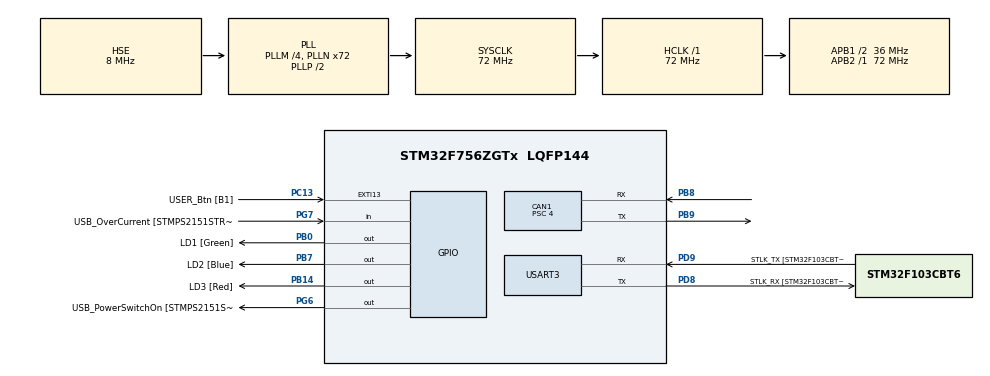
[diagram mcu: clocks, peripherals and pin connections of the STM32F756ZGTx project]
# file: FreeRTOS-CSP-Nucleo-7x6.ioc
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CAN1.BS1=CAN_BS1_4TQ
CAN1.BS2=CAN_BS2_4TQ
CAN1.CalculateBaudRate=1000000
CAN1.CalculateTimeBit=1000
CAN1.CalculateTimeQuantum=111.11111111111111
CAN1.Prescaler=4
CAN1.TXFP=ENABLE
FREERTOS.Tasks01=Default_Task,16,128,Start_Default_Task,Default,NULL,Dynamic,NULL,NULL;CAN_Send_Ping,8,128,Start_CAN_Send_Ping,Default,NULL,Dynamic,NULL,NULL;Blink,24,256,Start_Blink,Default,NULL,Dynamic,NULL,NULL
FREERTOS.configENABLE_FPU=0
FREERTOS.configTOTAL_HEAP_SIZE=32000
FREERTOS.configUSE_NEWLIB_REENTRANT=1
Mcu.Family=STM32F7
Mcu.Name=STM32F756ZGTx
Mcu.Package=LQFP144
NVIC.PriorityGroup=NVIC_PRIORITYGROUP_4
NVIC.TIM6_DAC_IRQn=true\:15\:0\:false\:false\:true\:false\:false\:true\:true
NVIC.TimeBase=TIM6_DAC_IRQn
NVIC.TimeBaseIP=TIM6
PA1.GPIO_Label=RMII_REF_CLK [LAN8742A-CZ-TR_REFCLK0]
PA1.Signal=ETH_REF_CLK
PA10.GPIO_Label=USB_ID
PA10.Signal=USB_OTG_FS_ID
PA11.GPIO_Label=USB_DM
PA11.Signal=USB_OTG_FS_DM
PA12.GPIO_Label=USB_DP
PA12.Signal=USB_OTG_FS_DP
PA13.GPIO_Label=TMS
PA13.Mode=Serial_Wire
PA13.Signal=SYS_JTMS-SWDIO
PA14.GPIO_Label=TCK
PA14.Mode=Serial_Wire
PA14.Signal=SYS_JTCK-SWCLK
PA2.GPIO_Label=RMII_MDIO [LAN8742A-CZ-TR_MDIO]
PA2.Signal=ETH_MDIO
PA7.GPIO_Label=RMII_CRS_DV [LAN8742A-CZ-TR_CRS_DV]
PA7.Signal=ETH_CRS_DV
PA8.GPIO_Label=USB_SOF [TP1]
PA8.Signal=USB_OTG_FS_SOF
PA9.GPIO_Label=USB_VBUS
PA9.Signal=USB_OTG_FS_VBUS
PB0.GPIO_Label=LD1 [Green]
PB0.Signal=GPIO_Output
PB13.GPIO_Label=RMII_TXD1 [LAN8742A-CZ-TR_TXD1]
PB13.Signal=ETH_TXD1
PB14.GPIO_Label=LD3 [Red]
PB14.Signal=GPIO_Output
PB3.GPIO_Label=SW0
PB3.Signal=SYS_JTDO-SWO
PB7.GPIO_Label=LD2 [Blue]
PB7.Signal=GPIO_Output
PB8.GPIO_PuPd=GPIO_PULLUP
PB8.Mode=CAN_Activate
PB8.Signal=CAN1_RX
PB9.Mode=CAN_Activate
PB9.Signal=CAN1_TX
PC1.GPIO_Label=RMII_MDC [LAN8742A-CZ-TR_MDC]
PC1.Signal=ETH_MDC
PC13.GPIO_Label=USER_Btn [B1]
PC13.Signal=GPXTI13
PC14/OSC32_IN.Mode=LSE-External-Oscillator
PC14/OSC32_IN.Signal=RCC_OSC32_IN
PC15/OSC32_OUT.Mode=LSE-External-Oscillator
PC15/OSC32_OUT.Signal=RCC_OSC32_OUT
PC4.GPIO_Label=RMII_RXD0 [LAN8742A-CZ-TR_RXD0]
PC4.Signal=ETH_RXD0
PC5.GPIO_Label=RMII_RXD1 [LAN8742A-CZ-TR_RXD1]
PC5.Signal=ETH_RXD1
PD8.GPIO_Label=STLK_RX [STM32F103CBT6_PA3]
PD8.Mode=Asynchronous
PD8.Signal=USART3_TX
PD9.GPIO_Label=STLK_TX [STM32F103CBT6_PA2]
PD9.Mode=Asynchronous
PD9.Signal=USART3_RX
PG11.GPIO_Label=RMII_TX_EN [LAN8742A-CZ-TR_TXEN]
PG11.Signal=ETH_TX_EN
PG13.GPIO_Label=RMII_TXD0 [LAN8742A-CZ-TR_TXD0]
PG13.Signal=ETH_TXD0
PG6.GPIO_Label=USB_PowerSwitchOn [STMPS2151STR_EN]
PG6.Signal=GPIO_Output
PG7.GPIO_Label=USB_OverCurrent [STMPS2151STR_FAULT]
PG7.Signal=GPIO_Input
PH0/OSC_IN.GPIO_Label=MCO [STM32F103CBT6_PA8]
PH0/OSC_IN.Mode=HSE-External-Clock-Source
PH0/OSC_IN.Signal=RCC_OSC_IN
PH1/OSC_OUT.Mode=HSE-External-Clock-Source
PH1/OSC_OUT.Signal=RCC_OSC_OUT
ProjectManager.HeapSize=0x200
ProjectManager.StackSize=0x400
ProjectManager.TargetToolchain=STM32CubeIDE
RCC.48MHZClocksFreq_Value=24000000
RCC.AHBFreq_Value=72000000
RCC.APB1CLKDivider=RCC_HCLK_DIV2
RCC.APB1Freq_Value=36000000
RCC.APB1TimFreq_Value=72000000
RCC.APB2Freq_Value=72000000
RCC.APB2TimFreq_Value=72000000
RCC.CortexFreq_Value=72000000
RCC.HCLKFreq_Value=72000000
RCC.HSE_VALUE=8000000
RCC.HSI_VALUE=16000000
RCC.PLLM=4
RCC.PLLMUL=RCC_PLL_MUL9
RCC.PLLN=72
RCC.PLLQ=3
RCC.PLLSourceVirtual=RCC_PLLSOURCE_HSE
RCC.PRESCALERUSB=RCC_USBCLKSOURCE_PLL_DIV1_5
RCC.SYSCLKFreq_VALUE=72000000
RCC.SYSCLKSource=RCC_SYSCLKSOURCE_PLLCLK
RCC.SYSCLKSourceVirtual=RCC_SYSCLKSOURCE_PLLCLK
RCC.USBFreq_Value=48000000
RCC.VCOOutputFreq_Value=144000000
USART3.VirtualMode-Asynchronous=VM_ASYNC
VP_FREERTOS_VS_CMSIS_V2.Mode=CMSIS_V2
VP_SYS_VS_tim6.Mode=TIM6
board=NUCLEO-F756ZG

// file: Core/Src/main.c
/* USER CODE BEGIN Header */
/**
 ******************************************************************************
 * @file           : main.c
 * @brief          : Main program body
 ******************************************************************************
 * @attention
 *
 * Copyright (c) 2022 STMicroelectronics.
 * All rights reserved.
 *
 * This software is licensed under terms that can be found in the LICENSE file
 * in the root directory of this software component.
 * If no LICENSE file comes with this software, it is provided AS-IS.
 *
 ******************************************************************************
 */
/* USER CODE END Header */
#include "main.h"
#include "cmsis_os.h"

/* USER CODE BEGIN Includes */
#include <csp/csp.h>
#include <csp/drivers/can_stm32.h>
/* USER CODE END Includes */

CAN_HandleTypeDef hcan1;

UART_HandleTypeDef huart3;

/* Definitions for Default_Task */
osThreadId_t Default_TaskHandle;
const osThreadAttr_t Default_Task_attributes = {
  .name = "Default_Task",
  .stack_size = 128 * 4,
  .priority = (osPriority_t) osPriorityBelowNormal,
};
/* Definitions for CAN_Send_Ping */
osThreadId_t CAN_Send_PingHandle;
const osThreadAttr_t CAN_Send_Ping_attributes = {
  .name = "CAN_Send_Ping",
  .stack_size = 128 * 4,
  .priority = (osPriority_t) osPriorityLow,
};
/* Definitions for Blink */
osThreadId_t BlinkHandle;
const osThreadAttr_t Blink_attributes = {
  .name = "Blink",
  .stack_size = 256 * 4,
  .priority = (osPriority_t) osPriorityNormal,
};
/* USER CODE BEGIN PV */
uint8_t USB_InputBuffer[100];
uint8_t USB_OutputBuffer[127];
int USB_OutBufLen;

static uint8_t server_port = 10;
static uint8_t server_address = 27;

CAN_RxHeaderTypeDef rxHeader;
uint8_t canRX[8] = {0,0,0,0,0,0,0,0};
CAN_FilterTypeDef canfil;
uint8_t canSend = 0;
/* USER CODE END PV */

void SystemClock_Config(void);
static void MX_GPIO_Init(void);
static void MX_USART3_UART_Init(void);
static void MX_CAN1_Init(void);
void Start_Default_Task(void *argument);
void Start_CAN_Send_Ping(void *argument);
void Start_Blink(void *argument);

int main(void)
{

  /* MCU Configuration--------------------------------------------------------*/

  /* Reset of all peripherals, Initializes the Flash interface and the Systick. */
  HAL_Init();

  /* Configure the system clock */
  SystemClock_Config();

  /* Initialize all configured peripherals */
  MX_GPIO_Init();
  MX_USART3_UART_Init();
  MX_CAN1_Init();
  /* USER CODE BEGIN 2 */

	uint8_t address = 1;
	csp_debug_level_t debug_level = CSP_INFO;
	for (csp_debug_level_t i = 0; i <= CSP_LOCK; ++i) {
		csp_debug_set_level(i, (i <= debug_level) ? true : false);
	}
	csp_log_info("Initialising CSP");
	csp_conf_t csp_conf;
	csp_conf_get_defaults(&csp_conf);
	csp_conf.address = address;
	int error = csp_init(&csp_conf);
	if (error != CSP_ERR_NONE) {
		csp_log_error("csp_init() failed, error: %d", error);
	}
	/* Start router task with 1000 bytes of stack (priority is only supported on FreeRTOS) */
	csp_route_start_task(1000, 0);

	/* Add interface(s) */
	csp_iface_t CSP_IF_CAN = {
			.name = "CSP IF CAN",
			.driver_data = &hcan1,
			.nexthop = csp_can_tx,
			.mtu = 64,
	};

	csp_iface_t *can_iface = &CSP_IF_CAN;

	error = csp_can_stm32_open_and_add_interface(CSP_IF_CAN.name, &can_iface);

	if (can_iface) {
		csp_rtable_set(CSP_DEFAULT_ROUTE, 0, can_iface, CSP_NO_VIA_ADDRESS);
	} else {
		server_address = address;
	}

  /* USER CODE END 2 */

  /* Init scheduler */
  osKernelInitialize();

  /* Create the thread(s) */
  /* creation of Default_Task */
  Default_TaskHandle = osThreadNew(Start_Default_Task, NULL, &Default_Task_attributes);

  /* creation of CAN_Send_Ping */
  CAN_Send_PingHandle = osThreadNew(Start_CAN_Send_Ping, NULL, &CAN_Send_Ping_attributes);

  /* creation of Blink */
  BlinkHandle = osThreadNew(Start_Blink, NULL, &Blink_attributes);

  /* Start scheduler */
  osKernelStart();
  /* We should never get here as control is now taken by the scheduler */
  /* Infinite loop */
	while (1) {

	}
}

void SystemClock_Config(void)
{
  RCC_OscInitTypeDef RCC_OscInitStruct = {0};
  RCC_ClkInitTypeDef RCC_ClkInitStruct = {0};

  /** Configure LSE Drive Capability
  */
  HAL_PWR_EnableBkUpAccess();

  /** Configure the main internal regulator output voltage
  */
  __HAL_RCC_PWR_CLK_ENABLE();
  __HAL_PWR_VOLTAGESCALING_CONFIG(PWR_REGULATOR_VOLTAGE_SCALE3);

  /** Initializes the RCC Oscillators according to the specified parameters
  * in the RCC_OscInitTypeDef structure.
  */
  RCC_OscInitStruct.OscillatorType = RCC_OSCILLATORTYPE_HSE;
  RCC_OscInitStruct.HSEState = RCC_HSE_BYPASS;
  RCC_OscInitStruct.PLL.PLLState = RCC_PLL_ON;
  RCC_OscInitStruct.PLL.PLLSource = RCC_PLLSOURCE_HSE;
  RCC_OscInitStruct.PLL.PLLM = 4;
  RCC_OscInitStruct.PLL.PLLN = 72;
  RCC_OscInitStruct.PLL.PLLP = RCC_PLLP_DIV2;
  RCC_OscInitStruct.PLL.PLLQ = 3;
  if (HAL_RCC_OscConfig(&RCC_OscInitStruct) != HAL_OK)
  {
    Error_Handler();
  }

  /** Initializes the CPU, AHB and APB buses clocks
  */
  RCC_ClkInitStruct.ClockType = RCC_CLOCKTYPE_HCLK|RCC_CLOCKTYPE_SYSCLK
                              |RCC_CLOCKTYPE_PCLK1|RCC_CLOCKTYPE_PCLK2;
  RCC_ClkInitStruct.SYSCLKSource = RCC_SYSCLKSOURCE_PLLCLK;
  RCC_ClkInitStruct.AHBCLKDivider = RCC_SYSCLK_DIV1;
  RCC_ClkInitStruct.APB1CLKDivider = RCC_HCLK_DIV2;
  RCC_ClkInitStruct.APB2CLKDivider = RCC_HCLK_DIV1;

  if (HAL_RCC_ClockConfig(&RCC_ClkInitStruct, FLASH_LATENCY_2) != HAL_OK)
  {
    Error_Handler();
  }
}

static void MX_CAN1_Init(void)
{

  hcan1.Instance = CAN1;
  hcan1.Init.Prescaler = 4;
  hcan1.Init.Mode = CAN_MODE_NORMAL;
  hcan1.Init.SyncJumpWidth = CAN_SJW_1TQ;
  hcan1.Init.TimeSeg1 = CAN_BS1_4TQ;
  hcan1.Init.TimeSeg2 = CAN_BS2_4TQ;
  hcan1.Init.TimeTriggeredMode = DISABLE;
  hcan1.Init.AutoBusOff = DISABLE;
  hcan1.Init.AutoWakeUp = DISABLE;
  hcan1.Init.AutoRetransmission = DISABLE;
  hcan1.Init.ReceiveFifoLocked = DISABLE;
  hcan1.Init.TransmitFifoPriority = ENABLE;
  if (HAL_CAN_Init(&hcan1) != HAL_OK)
  {
    Error_Handler();
  }
  /* USER CODE BEGIN CAN1_Init 2 */

	canfil.FilterBank = 0;
	canfil.FilterMode = CAN_FILTERMODE_IDMASK;
	canfil.FilterFIFOAssignment = CAN_RX_FIFO0;
	canfil.FilterIdHigh = 0;
	canfil.FilterIdLow = 0;
	canfil.FilterMaskIdHigh = 0;
	canfil.FilterMaskIdLow = 0;
	canfil.FilterScale = CAN_FILTERSCALE_32BIT;
	canfil.FilterActivation = ENABLE;
	canfil.SlaveStartFilterBank = 14;

	if (HAL_CAN_ConfigFilter(&hcan1,&canfil) != HAL_OK) //Initialize CAN Filter
		Error_Handler();

  /* USER CODE END CAN1_Init 2 */

}

static void MX_USART3_UART_Init(void)
{

  huart3.Instance = USART3;
  huart3.Init.BaudRate = 115200;
  huart3.Init.WordLength = UART_WORDLENGTH_8B;
  huart3.Init.StopBits = UART_STOPBITS_1;
  huart3.Init.Parity = UART_PARITY_NONE;
  huart3.Init.Mode = UART_MODE_TX_RX;
  huart3.Init.HwFlowCtl = UART_HWCONTROL_NONE;
  huart3.Init.OverSampling = UART_OVERSAMPLING_16;
  huart3.Init.OneBitSampling = UART_ONE_BIT_SAMPLE_DISABLE;
  huart3.AdvancedInit.AdvFeatureInit = UART_ADVFEATURE_NO_INIT;
  if (HAL_UART_Init(&huart3) != HAL_OK)
  {
    Error_Handler();
  }

}

static void MX_GPIO_Init(void)
{
  GPIO_InitTypeDef GPIO_InitStruct = {0};

  /* GPIO Ports Clock Enable */
  __HAL_RCC_GPIOC_CLK_ENABLE();
  __HAL_RCC_GPIOH_CLK_ENABLE();
  __HAL_RCC_GPIOA_CLK_ENABLE();
  __HAL_RCC_GPIOB_CLK_ENABLE();
  __HAL_RCC_GPIOD_CLK_ENABLE();
  __HAL_RCC_GPIOG_CLK_ENABLE();

  /*Configure GPIO pin Output Level */
  HAL_GPIO_WritePin(GPIOB, LD1_Pin|LD3_Pin|LD2_Pin, GPIO_PIN_RESET);

  /*Configure GPIO pin Output Level */
  HAL_GPIO_WritePin(USB_PowerSwitchOn_GPIO_Port, USB_PowerSwitchOn_Pin, GPIO_PIN_RESET);

  /*Configure GPIO pin : USER_Btn_Pin */
  GPIO_InitStruct.Pin = USER_Btn_Pin;
  GPIO_InitStruct.Mode = GPIO_MODE_IT_RISING;
  GPIO_InitStruct.Pull = GPIO_NOPULL;
  HAL_GPIO_Init(USER_Btn_GPIO_Port, &GPIO_InitStruct);

  /*Configure GPIO pins : RMII_MDC_Pin RMII_RXD0_Pin RMII_RXD1_Pin */
  GPIO_InitStruct.Pin = RMII_MDC_Pin|RMII_RXD0_Pin|RMII_RXD1_Pin;
  GPIO_InitStruct.Mode = GPIO_MODE_AF_PP;
  GPIO_InitStruct.Pull = GPIO_NOPULL;
  GPIO_InitStruct.Speed = GPIO_SPEED_FREQ_VERY_HIGH;
  GPIO_InitStruct.Alternate = GPIO_AF11_ETH;
  HAL_GPIO_Init(GPIOC, &GPIO_InitStruct);

  /*Configure GPIO pins : RMII_REF_CLK_Pin RMII_MDIO_Pin RMII_CRS_DV_Pin */
  GPIO_InitStruct.Pin = RMII_REF_CLK_Pin|RMII_MDIO_Pin|RMII_CRS_DV_Pin;
  GPIO_InitStruct.Mode = GPIO_MODE_AF_PP;
  GPIO_InitStruct.Pull = GPIO_NOPULL;
  GPIO_InitStruct.Speed = GPIO_SPEED_FREQ_VERY_HIGH;
  GPIO_InitStruct.Alternate = GPIO_AF11_ETH;
  HAL_GPIO_Init(GPIOA, &GPIO_InitStruct);

  /*Configure GPIO pins : LD1_Pin LD3_Pin LD2_Pin */
  GPIO_InitStruct.Pin = LD1_Pin|LD3_Pin|LD2_Pin;
  GPIO_InitStruct.Mode = GPIO_MODE_OUTPUT_PP;
  GPIO_InitStruct.Pull = GPIO_NOPULL;
  GPIO_InitStruct.Speed = GPIO_SPEED_FREQ_LOW;
  HAL_GPIO_Init(GPIOB, &GPIO_InitStruct);

  /*Configure GPIO pin : RMII_TXD1_Pin */
  GPIO_InitStruct.Pin = RMII_TXD1_Pin;
  GPIO_InitStruct.Mode = GPIO_MODE_AF_PP;
  GPIO_InitStruct.Pull = GPIO_NOPULL;
  GPIO_InitStruct.Speed = GPIO_SPEED_FREQ_VERY_HIGH;
  GPIO_InitStruct.Alternate = GPIO_AF11_ETH;
  HAL_GPIO_Init(RMII_TXD1_GPIO_Port, &GPIO_InitStruct);

  /*Configure GPIO pin : USB_PowerSwitchOn_Pin */
  GPIO_InitStruct.Pin = USB_PowerSwitchOn_Pin;
  GPIO_InitStruct.Mode = GPIO_MODE_OUTPUT_PP;
  GPIO_InitStruct.Pull = GPIO_NOPULL;
  GPIO_InitStruct.Speed = GPIO_SPEED_FREQ_LOW;
  HAL_GPIO_Init(USB_PowerSwitchOn_GPIO_Port, &GPIO_InitStruct);

  /*Configure GPIO pin : USB_OverCurrent_Pin */
  GPIO_InitStruct.Pin = USB_OverCurrent_Pin;
  GPIO_InitStruct.Mode = GPIO_MODE_INPUT;
  GPIO_InitStruct.Pull = GPIO_NOPULL;
  HAL_GPIO_Init(USB_OverCurrent_GPIO_Port, &GPIO_InitStruct);

  /*Configure GPIO pins : USB_SOF_Pin USB_ID_Pin USB_DM_Pin USB_DP_Pin */
  GPIO_InitStruct.Pin = USB_SOF_Pin|USB_ID_Pin|USB_DM_Pin|USB_DP_Pin;
  GPIO_InitStruct.Mode = GPIO_MODE_AF_PP;
  GPIO_InitStruct.Pull = GPIO_NOPULL;
  GPIO_InitStruct.Speed = GPIO_SPEED_FREQ_VERY_HIGH;
  GPIO_InitStruct.Alternate = GPIO_AF10_OTG_FS;
  HAL_GPIO_Init(GPIOA, &GPIO_InitStruct);

  /*Configure GPIO pin : USB_VBUS_Pin */
  GPIO_InitStruct.Pin = USB_VBUS_Pin;
  GPIO_InitStruct.Mode = GPIO_MODE_INPUT;
  GPIO_InitStruct.Pull = GPIO_NOPULL;
  HAL_GPIO_Init(USB_VBUS_GPIO_Port, &GPIO_InitStruct);

  /*Configure GPIO pins : RMII_TX_EN_Pin RMII_TXD0_Pin */
  GPIO_InitStruct.Pin = RMII_TX_EN_Pin|RMII_TXD0_Pin;
  GPIO_InitStruct.Mode = GPIO_MODE_AF_PP;
  GPIO_InitStruct.Pull = GPIO_NOPULL;
  GPIO_InitStruct.Speed = GPIO_SPEED_FREQ_VERY_HIGH;
  GPIO_InitStruct.Alternate = GPIO_AF11_ETH;
  HAL_GPIO_Init(GPIOG, &GPIO_InitStruct);

}

void Start_Default_Task(void *argument)
{
  /* USER CODE BEGIN 5 */
	while (1) {
		osDelay(10);
	}
  /* USER CODE END 5 */
}

void Start_CAN_Send_Ping(void *argument)
{
  /* USER CODE BEGIN Start_CAN_Send_Ping */
	if (HAL_CAN_Start(&hcan1) != HAL_OK) {
		Error_Handler();
	}
	/* Infinite loop */
	while (1) {

		if (csp_ping(server_address, 1000, 50, CSP_SO_NONE) == -1) {
			HAL_GPIO_WritePin(LD3_GPIO_Port, LD3_Pin, GPIO_PIN_SET);
		} else {
			HAL_GPIO_WritePin(LD3_GPIO_Port, LD3_Pin, GPIO_PIN_RESET);
		}

		osDelay(200);
	}
  /* USER CODE END Start_CAN_Send_Ping */
}

void Start_Blink(void *argument)
{
  /* USER CODE BEGIN Start_Blink */
	char* message;
	/* Infinite loop */
	while (1) {
		HAL_GPIO_TogglePin(LD2_GPIO_Port, LD2_Pin);
		osDelay(1000);
	}
  /* USER CODE END Start_Blink */
}

void HAL_TIM_PeriodElapsedCallback(TIM_HandleTypeDef *htim)
{
  if (htim->Instance == TIM6) {
    HAL_IncTick();
  }
}

void Error_Handler(void)
{
	__disable_irq();
	while (1) {
	}
}
